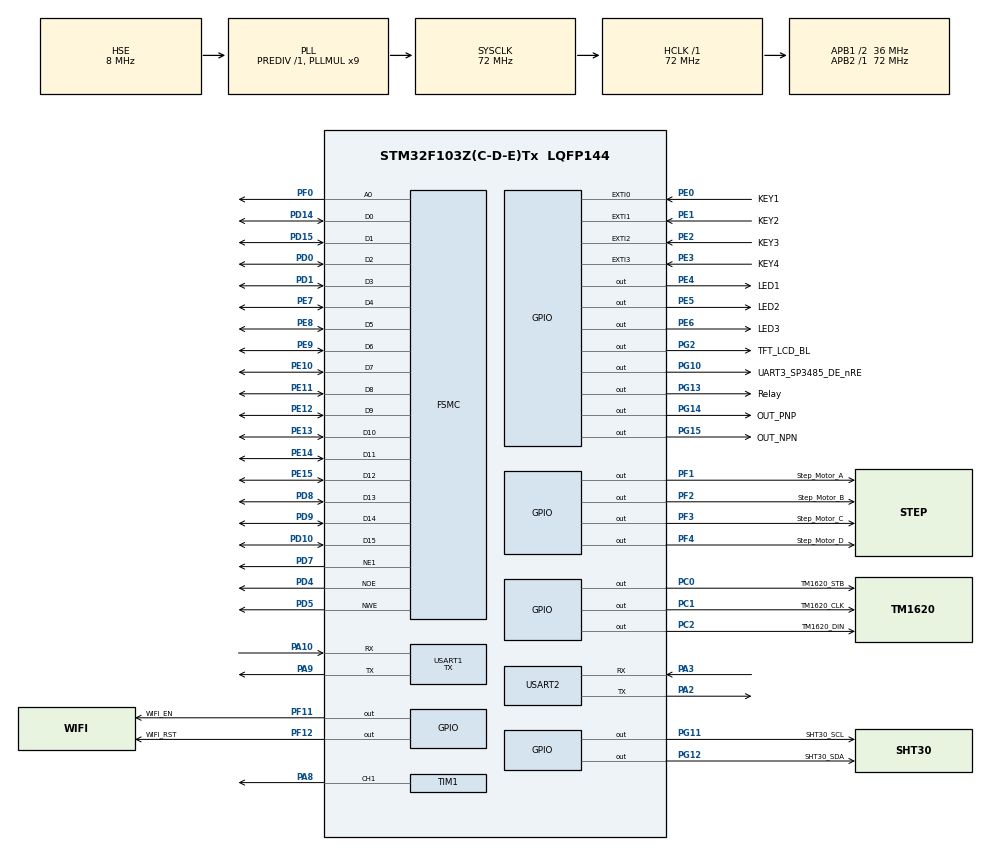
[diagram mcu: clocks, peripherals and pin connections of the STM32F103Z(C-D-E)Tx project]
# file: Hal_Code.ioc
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Dma.Request0=USART2_TX
Dma.Request1=USART2_RX
Dma.USART2_RX.1.Direction=DMA_PERIPH_TO_MEMORY
Dma.USART2_RX.1.Instance=DMA1_Channel6
Dma.USART2_RX.1.MemDataAlignment=DMA_MDATAALIGN_BYTE
Dma.USART2_RX.1.MemInc=DMA_MINC_ENABLE
Dma.USART2_RX.1.Mode=DMA_NORMAL
Dma.USART2_RX.1.PeriphDataAlignment=DMA_PDATAALIGN_BYTE
Dma.USART2_RX.1.PeriphInc=DMA_PINC_DISABLE
Dma.USART2_RX.1.Priority=DMA_PRIORITY_HIGH
Dma.USART2_TX.0.Direction=DMA_MEMORY_TO_PERIPH
Dma.USART2_TX.0.Instance=DMA1_Channel7
Dma.USART2_TX.0.MemDataAlignment=DMA_MDATAALIGN_BYTE
Dma.USART2_TX.0.MemInc=DMA_MINC_ENABLE
Dma.USART2_TX.0.Mode=DMA_NORMAL
Dma.USART2_TX.0.PeriphDataAlignment=DMA_PDATAALIGN_BYTE
Dma.USART2_TX.0.PeriphInc=DMA_PINC_DISABLE
Dma.USART2_TX.0.Priority=DMA_PRIORITY_MEDIUM
FREERTOS.MEMORY_ALLOCATION=0
FREERTOS.Tasks01=LED1,0,128,LED1_Task,Default,NULL,Dynamic,NULL,NULL;Print_CPU_RunInfo,1,256,Print_CPU_RunInfo_Task,Default,NULL,Dynamic,NULL,NULL;LED2,0,128,LED2_Task,Default,NULL,Dynamic,NULL,NULL;LED3,0,128,LED3_Task,Default,NULL,Dynamic,NULL,NULL
FREERTOS.configGENERATE_RUN_TIME_STATS=1
FREERTOS.configMAX_TASK_NAME_LEN=20
FREERTOS.configTOTAL_HEAP_SIZE=10240
FREERTOS.configUSE_NEWLIB_REENTRANT=1
FREERTOS.configUSE_STATS_FORMATTING_FUNCTIONS=1
FREERTOS.configUSE_TRACE_FACILITY=1
FSMC.AddressSetupTime1=2
FSMC.BusTurnAroundDuration1=0
FSMC.DataSetupTime1=5
Mcu.Family=STM32F1
Mcu.Name=STM32F103Z(C-D-E)Tx
Mcu.Package=LQFP144
NVIC.DMA1_Channel6_IRQn=true\:5\:0\:false\:false\:true\:true\:true\:true\:true
NVIC.DMA1_Channel7_IRQn=true\:5\:0\:false\:false\:true\:true\:true\:true\:true
NVIC.EXTI0_IRQn=true\:6\:0\:true\:false\:true\:true\:true\:true\:true
NVIC.EXTI1_IRQn=true\:6\:0\:true\:false\:true\:true\:true\:true\:true
NVIC.EXTI2_IRQn=true\:6\:0\:true\:false\:true\:true\:true\:true\:true
NVIC.EXTI3_IRQn=true\:6\:0\:true\:false\:true\:true\:true\:true\:true
NVIC.PriorityGroup=NVIC_PRIORITYGROUP_4
NVIC.TIM2_IRQn=true\:0\:0\:false\:false\:true\:false\:false\:true\:true
NVIC.TIM3_IRQn=true\:5\:0\:true\:false\:true\:true\:true\:true\:true
NVIC.TIM6_IRQn=true\:6\:0\:true\:false\:true\:true\:true\:true\:true
NVIC.TIM7_IRQn=true\:5\:0\:true\:false\:true\:true\:true\:true\:true
NVIC.TimeBase=TIM2_IRQn
NVIC.TimeBaseIP=TIM2
NVIC.USART2_IRQn=true\:5\:0\:true\:false\:true\:true\:true\:true\:true
OSC_IN.Mode=HSE-External-Oscillator
OSC_IN.Signal=RCC_OSC_IN
OSC_OUT.Mode=HSE-External-Oscillator
OSC_OUT.Signal=RCC_OSC_OUT
PA10.Mode=Asynchronous
PA10.Signal=USART1_RX
PA13.Mode=Serial_Wire
PA13.Signal=SYS_JTMS-SWDIO
PA14.Mode=Serial_Wire
PA14.Signal=SYS_JTCK-SWCLK
PA2.Mode=Asynchronous
PA2.Signal=USART2_TX
PA3.Mode=Asynchronous
PA3.Signal=USART2_RX
PA8.Signal=S_TIM1_CH1
PA9.Mode=Asynchronous
PA9.Signal=USART1_TX
PC0.GPIO_Label=TM1620_STB
PC0.Signal=GPIO_Output
PC1.GPIO_Label=TM1620_CLK
PC1.Signal=GPIO_Output
PC2.GPIO_Label=TM1620_DIN
PC2.Signal=GPIO_Output
PD0.Signal=FSMC_D2_DA2
PD1.Signal=FSMC_D3_DA3
PD10.Signal=FSMC_D15_DA15
PD14.Signal=FSMC_D0_DA0
PD15.Signal=FSMC_D1_DA1
PD4.Signal=FSMC_NOE
PD5.Signal=FSMC_NWE
PD7.Mode=NorPsramChipSelect1_1
PD7.Signal=FSMC_NE1
PD8.Signal=FSMC_D13_DA13
PD9.Signal=FSMC_D14_DA14
PE0.GPIO_Label=KEY1
PE0.GPIO_ModeDefaultEXTI=GPIO_MODE_IT_FALLING
PE0.Signal=GPXTI0
PE1.GPIO_Label=KEY2
PE1.GPIO_ModeDefaultEXTI=GPIO_MODE_IT_FALLING
PE1.Signal=GPXTI1
PE10.Signal=FSMC_D7_DA7
PE11.Signal=FSMC_D8_DA8
PE12.Signal=FSMC_D9_DA9
PE13.Signal=FSMC_D10_DA10
PE14.Signal=FSMC_D11_DA11
PE15.Signal=FSMC_D12_DA12
PE2.GPIO_Label=KEY3
PE2.GPIO_ModeDefaultEXTI=GPIO_MODE_IT_FALLING
PE2.Signal=GPXTI2
PE3.GPIO_Label=KEY4
PE3.GPIO_ModeDefaultEXTI=GPIO_MODE_IT_FALLING
PE3.Signal=GPXTI3
PE4.GPIO_Label=LED1
PE4.GPIO_Speed=GPIO_SPEED_FREQ_LOW
PE4.PinState=GPIO_PIN_RESET
PE4.Signal=GPIO_Output
PE5.GPIO_Label=LED2
PE5.PinState=GPIO_PIN_RESET
PE5.Signal=GPIO_Output
PE6.GPIO_Label=LED3
PE6.PinState=GPIO_PIN_RESET
PE6.Signal=GPIO_Output
PE7.Signal=FSMC_D4_DA4
PE8.Signal=FSMC_D5_DA5
PE9.Signal=FSMC_D6_DA6
PF0.Signal=FSMC_A0
PF1.GPIO_Label=Step_Motor_A
PF1.Signal=GPIO_Output
PF11.GPIO_Label=WIFI_EN
PF11.GPIO_ModeDefaultOutputPP=GPIO_MODE_OUTPUT_OD
PF11.PinState=GPIO_PIN_SET
PF11.Signal=GPIO_Output
PF12.GPIO_Label=WIFI_RST
PF12.GPIO_ModeDefaultOutputPP=GPIO_MODE_OUTPUT_OD
PF12.PinState=GPIO_PIN_SET
PF12.Signal=GPIO_Output
PF2.GPIO_Label=Step_Motor_B
PF2.Signal=GPIO_Output
PF3.GPIO_Label=Step_Motor_C
PF3.Signal=GPIO_Output
PF4.GPIO_Label=Step_Motor_D
PF4.Signal=GPIO_Output
PG10.GPIO_Label=UART3_SP3485_DE_nRE
PG10.Signal=GPIO_Output
PG11.GPIO_Label=SHT30_SCL
PG11.GPIO_ModeDefaultOutputPP=GPIO_MODE_OUTPUT_OD
PG11.GPIO_PuPd=GPIO_NOPULL
PG11.GPIO_Speed=GPIO_SPEED_FREQ_HIGH
PG11.PinState=GPIO_PIN_SET
PG11.Signal=GPIO_Output
PG12.GPIO_Label=SHT30_SDA
PG12.GPIO_ModeDefaultOutputPP=GPIO_MODE_OUTPUT_OD
PG12.GPIO_Speed=GPIO_SPEED_FREQ_HIGH
PG12.PinState=GPIO_PIN_SET
PG12.Signal=GPIO_Output
PG13.GPIO_Label=Relay
PG13.Signal=GPIO_Output
PG14.GPIO_Label=OUT_PNP
PG14.PinState=GPIO_PIN_SET
PG14.Signal=GPIO_Output
PG15.GPIO_Label=OUT_NPN
PG15.PinState=GPIO_PIN_RESET
PG15.Signal=GPIO_Output
PG2.GPIO_Label=TFT_LCD_BL
PG2.Signal=GPIO_Output
ProjectManager.HeapSize=0x200
ProjectManager.StackSize=0x400
ProjectManager.TargetToolchain=STM32CubeIDE
RCC.ADCPresc=RCC_ADCPCLK2_DIV6
RCC.AHBFreq_Value=72000000
RCC.APB1CLKDivider=RCC_HCLK_DIV2
RCC.APB1Freq_Value=36000000
RCC.APB1TimFreq_Value=72000000
RCC.APB2Freq_Value=72000000
RCC.APB2TimFreq_Value=72000000
RCC.EnbaleCSS=true
RCC.HCLKFreq_Value=72000000
RCC.PLLMUL=RCC_PLL_MUL9
RCC.PLLSourceVirtual=RCC_PLLSOURCE_HSE
RCC.SYSCLKFreq_VALUE=72000000
RCC.SYSCLKSource=RCC_SYSCLKSOURCE_PLLCLK
RCC.USBFreq_Value=72000000
SH.FSMC_A0.0=FSMC_A0,A0_1
SH.FSMC_D0_DA0.0=FSMC_D0,16b-d1
SH.FSMC_D10_DA10.0=FSMC_D10,16b-d1
SH.FSMC_D11_DA11.0=FSMC_D11,16b-d1
SH.FSMC_D12_DA12.0=FSMC_D12,16b-d1
SH.FSMC_D13_DA13.0=FSMC_D13,16b-d1
SH.FSMC_D14_DA14.0=FSMC_D14,16b-d1
SH.FSMC_D15_DA15.0=FSMC_D15,16b-d1
SH.FSMC_D1_DA1.0=FSMC_D1,16b-d1
SH.FSMC_D2_DA2.0=FSMC_D2,16b-d1
SH.FSMC_D3_DA3.0=FSMC_D3,16b-d1
SH.FSMC_D4_DA4.0=FSMC_D4,16b-d1
SH.FSMC_D5_DA5.0=FSMC_D5,16b-d1
SH.FSMC_D6_DA6.0=FSMC_D6,16b-d1
SH.FSMC_D7_DA7.0=FSMC_D7,16b-d1
SH.FSMC_D8_DA8.0=FSMC_D8,16b-d1
SH.FSMC_D9_DA9.0=FSMC_D9,16b-d1
SH.FSMC_NOE.0=FSMC_NOE,Lcd1
SH.FSMC_NWE.0=FSMC_NWE,Lcd1
SH.S_TIM1_CH1.0=TIM1_CH1,PWM Generation1 CH1
TIM1.AutoReloadPreload=TIM_AUTORELOAD_PRELOAD_ENABLE
TIM1.Channel-PWM\ Generation1\ CH1=TIM_CHANNEL_1
TIM1.Period=1000000/1000 - 1
TIM1.Prescaler=72000000/1000000 - 1
TIM1.Pulse-PWM\ Generation1\ CH1=500
TIM3.AutoReloadPreload=TIM_AUTORELOAD_PRELOAD_ENABLE
TIM3.Period=1000000/20000 - 1
TIM3.Prescaler=72000000/1000000 - 1
TIM6.AutoReloadPreload=TIM_AUTORELOAD_PRELOAD_ENABLE
TIM6.Period=1000000/200 - 1
TIM6.Prescaler=72000000/1000000 - 1
TIM7.AutoReloadPreload=TIM_AUTORELOAD_PRELOAD_ENABLE
TIM7.Period=49
TIM7.Prescaler=72000000/10000 - 1
USART1.Mode=MODE_TX
USART1.VirtualMode=VM_ASYNC
USART2.VirtualMode=VM_ASYNC
VP_FREERTOS_VS_CMSIS_V1.Mode=CMSIS_V1
VP_SYS_VS_tim2.Mode=TIM2
VP_TIM1_VS_ClockSourceINT.Mode=Internal
VP_TIM3_VS_ClockSourceINT.Mode=Internal
VP_TIM6_VS_ClockSourceINT.Mode=Enable_Timer
VP_TIM7_VS_ClockSourceINT.Mode=Enable_Timer
board=custom

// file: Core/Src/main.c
/* USER CODE BEGIN Header */
/**
  ******************************************************************************
  * @file           : main.c
  * @brief          : Main program body
  ******************************************************************************
  * @attention
  *
  * <h2><center>&copy; Copyright (c) 2020 STMicroelectronics.
  * All rights reserved.</center></h2>
  *
  * This software component is licensed by ST under BSD 3-Clause license,
  * the "License"; You may not use this file except in compliance with the
  * License. You may obtain a copy of the License at:
  *                        opensource.org/licenses/BSD-3-Clause
  *
  ******************************************************************************
  */
/* USER CODE END Header */

#include "main.h"
#include "cmsis_os.h"
#include "dma.h"
#include "tim.h"
#include "usart.h"
#include "gpio.h"
#include "fsmc.h"

/* USER CODE BEGIN Includes */
#include "MyApplication.h"
/* USER CODE END Includes */

/* USER CODE BEGIN PV */
volatile uint32_t CPU_RunTime = 0UL;
/* USER CODE END PV */

void SystemClock_Config(void);
void MX_FREERTOS_Init(void);

int main(void)
{

    /* MCU Configuration--------------------------------------------------------*/

    /* Reset of all peripherals, Initializes the Flash interface and the Systick. */
    HAL_Init();

    /* Configure the system clock */
    SystemClock_Config();

    /* Initialize all configured peripherals */
    MX_GPIO_Init();
    MX_DMA_Init();
    MX_TIM6_Init();
    MX_USART1_UART_Init();
    MX_TIM1_Init();
    MX_USART2_UART_Init();
    MX_FSMC_Init();
    MX_TIM3_Init();
    MX_TIM7_Init();
    /* USER CODE BEGIN 2 */
    MyInit.Peripheral_Set();
    /* USER CODE END 2 */

    /* Call init function for freertos objects (in freertos.c) */
    MX_FREERTOS_Init();
    /* Start scheduler */
    osKernelStart();

    /* We should never get here as control is now taken by the scheduler */
    /* Infinite loop */
    while (1)
    {

    }
}

void SystemClock_Config(void)
{
    RCC_OscInitTypeDef RCC_OscInitStruct = {0};
    RCC_ClkInitTypeDef RCC_ClkInitStruct = {0};

    /** Initializes the CPU, AHB and APB busses clocks
    */
    RCC_OscInitStruct.OscillatorType = RCC_OSCILLATORTYPE_HSE;
    RCC_OscInitStruct.HSEState = RCC_HSE_ON;
    RCC_OscInitStruct.HSEPredivValue = RCC_HSE_PREDIV_DIV1;
    RCC_OscInitStruct.HSIState = RCC_HSI_ON;
    RCC_OscInitStruct.PLL.PLLState = RCC_PLL_ON;
    RCC_OscInitStruct.PLL.PLLSource = RCC_PLLSOURCE_HSE;
    RCC_OscInitStruct.PLL.PLLMUL = RCC_PLL_MUL9;
    if (HAL_RCC_OscConfig(&RCC_OscInitStruct) != HAL_OK)
    {
        Error_Handler();
    }
    /** Initializes the CPU, AHB and APB busses clocks
    */
    RCC_ClkInitStruct.ClockType = RCC_CLOCKTYPE_HCLK|RCC_CLOCKTYPE_SYSCLK
                                  |RCC_CLOCKTYPE_PCLK1|RCC_CLOCKTYPE_PCLK2;
    RCC_ClkInitStruct.SYSCLKSource = RCC_SYSCLKSOURCE_PLLCLK;
    RCC_ClkInitStruct.AHBCLKDivider = RCC_SYSCLK_DIV1;
    RCC_ClkInitStruct.APB1CLKDivider = RCC_HCLK_DIV2;
    RCC_ClkInitStruct.APB2CLKDivider = RCC_HCLK_DIV1;

    if (HAL_RCC_ClockConfig(&RCC_ClkInitStruct, FLASH_LATENCY_2) != HAL_OK)
    {
        Error_Handler();
    }
    /** Enables the Clock Security System
    */
    HAL_RCC_EnableCSS();
}

void HAL_TIM_PeriodElapsedCallback(TIM_HandleTypeDef *htim)
{
    if (htim->Instance == TIM2) {
        HAL_IncTick();
    }
    /* USER CODE BEGIN Callback 1 */
    if (htim->Instance == TIM3)
    {
        CPU_RunTime++;
    }
    /* USER CODE END Callback 1 */
}

void Error_Handler(void)
{
    /* USER CODE BEGIN Error_Handler_Debug */
    /* User can add his own implementation to report the HAL error return state */
    System.Error_Handler();
    /* USER CODE END Error_Handler_Debug */
}

#ifdef  USE_FULL_ASSERT
/**
  * @brief  Reports the name of the source file and the source line number
  *         where the assert_param error has occurred.
  * @param  file: pointer to the source file name
  * @param  line: assert_param error line source number
  * @retval None
  */
void assert_failed(uint8_t *file, uint32_t line)
{
    /* USER CODE BEGIN 6 */
    /* User can add his own implementation to report the file name and line number,
       tex: printf("Wrong parameters value: file %s on line %d\r\n", file, line) */
    System.Assert_Failed();
    /* USER CODE END 6 */
}
#endif /* USE_FULL_ASSERT */

/************************ (C) COPYRIGHT STMicroelectronics *****END OF FILE****/

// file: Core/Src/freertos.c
/* USER CODE BEGIN Header */
/**
  ******************************************************************************
  * File Name          : freertos.c
  * Description        : Code for freertos applications
  ******************************************************************************
  * @attention
  *
  * <h2><center>&copy; Copyright (c) 2022 STMicroelectronics.
  * All rights reserved.</center></h2>
  *
  * This software component is licensed by ST under Ultimate Liberty license
  * SLA0044, the "License"; You may not use this file except in compliance with
  * the License. You may obtain a copy of the License at:
  *                             www.st.com/SLA0044
  *
  ******************************************************************************
  */
/* USER CODE END Header */

#include "FreeRTOS.h"
#include "task.h"
#include "main.h"
#include "cmsis_os.h"

/* USER CODE BEGIN Includes */
#include "MyApplication.h"
/* USER CODE END Includes */

/* USER CODE BEGIN Variables */
extern volatile uint32_t CPU_RunTime;

//定义队列变量
static QueueHandle_t xQueue1 = NULL;
static QueueHandle_t xQueue2 = NULL;

/* USER CODE END Variables */
osThreadId LED1Handle;
osThreadId KEYHandle;
osThreadId Queue1_ReceiveHandle;
osThreadId Queue2_ReceiveHandle;

void LED1_Task(void const * argument);
void KEY_Task(void const * argument);
void Queue1_Receive_Task(void const * argument);
void Queue2_Receive_Task(void const * argument);

void MX_FREERTOS_Init(void); /* (MISRA C 2004 rule 8.1) */

/* Hook prototypes */
void configureTimerForRunTimeStats(void);
unsigned long getRunTimeCounterValue(void);

/* USER CODE BEGIN 1 */
/* Functions needed when configGENERATE_RUN_TIME_STATS is on */
__weak void configureTimerForRunTimeStats(void)
{
    CPU_RunTime = 0;
}

__weak unsigned long getRunTimeCounterValue(void)
{
    return CPU_RunTime;
}
/* USER CODE END 1 */

void MX_FREERTOS_Init(void) {

    /* USER CODE BEGIN RTOS_QUEUES */
    /* add queues, ... */
    xQueue1 = xQueueCreate(1, sizeof(uint32_t));
    if(xQueue1 == NULL)
        printf("创建消息队列1失败\r\n");
    else
        printf("创建消息队列1成功\r\n");

    xQueue2 = xQueueCreate(2, 16);
    if(xQueue2 == NULL)
        printf("创建消息队列2失败\r\n");
    else
        printf("创建消息队列2成功\r\n");
    /* USER CODE END RTOS_QUEUES */

    /* Create the thread(s) */
    /* definition and creation of LED1 */
    osThreadDef(LED1, LED1_Task, osPriorityBelowNormal, 0, 128);
    LED1Handle = osThreadCreate(osThread(LED1), NULL);

    /* definition and creation of KEY */
    osThreadDef(KEY, KEY_Task, osPriorityAboveNormal, 0, 256);
    KEYHandle = osThreadCreate(osThread(KEY), NULL);

    /* definition and creation of Queue1_Receive */
    osThreadDef(Queue1_Receive, Queue1_Receive_Task, osPriorityNormal, 0, 128);
    Queue1_ReceiveHandle = osThreadCreate(osThread(Queue1_Receive), NULL);

    /* definition and creation of Queue2_Receive */
    osThreadDef(Queue2_Receive, Queue2_Receive_Task, osPriorityNormal, 0, 128);
    Queue2_ReceiveHandle = osThreadCreate(osThread(Queue2_Receive), NULL);

}

void LED1_Task(void const * argument)
{
    /* USER CODE BEGIN LED1_Task */
    /* Infinite loop */
    for(;;)
    {
        osDelay(1000);
        LED.LED_Flip(LED1);
    }
    /* USER CODE END LED1_Task */
}

void KEY_Task(void const * argument)
{
    /* USER CODE BEGIN KEY_Task */
    uint8_t CPU_RunInfo[500];  //保存任务运行时间信息
    uint32_t ucSend_Data = 0;  //向消息队列1发送的数据
    const TickType_t ulSendBlockTime = pdMS_TO_TICKS(10);
    /* Infinite loop */
    for(;;)
    {
        //按键检测
        KEY.GetKeyCode();

        //KEY1处理
        if(KEY.KeyCode == KEY1)
        {
            vTaskList((char*)&CPU_RunInfo);
            printf("---------------------------------\r\n");
            printf("任务名               任务状态  优先级   剩余栈 任务序号\r\n");
            printf("%s",CPU_RunInfo);
            printf("---------------------------------\r\n");

            vTaskGetRunTimeStats((char*)&CPU_RunInfo);
            printf("---------------------------------\r\n");
            printf("任务名                 运行计数        利用率\r\n");
            printf("%s",CPU_RunInfo);
            printf("---------------------------------\r\n");
        }

        //KEY2处理
        if(KEY.KeyCode == KEY2)
        {
            if(xQueueSend(xQueue1, &ucSend_Data, ulSendBlockTime) == pdTRUE)
                printf("成功向消息队列1发送数据：%u\r\n", ucSend_Data);
            else
                printf("向消息队列1发送数据出现超时!!!\r\n");

            //更新发送的数据
            ucSend_Data += 1000;
        }

        //KEY3处理
        if(KEY.KeyCode == KEY3)
        {
            if(xQueueSend(xQueue2, "MCU168168168\r\n", 0) == pdTRUE)
                printf("成功向消息队列2发送字符串：%s\r\n", "MCU168168168");
            else
                printf("向消息队列2发送字符串出现超时!!!\r\n");
        }

        //KEY4处理
        if(KEY.KeyCode == KEY4)
        {
            if(xQueueSend(xQueue2, "YJJY168168168", 0) == pdTRUE)
                printf("成功向消息队列2发送字符串：%s\r\n", "YJJY168168168\r\n");
            else
                printf("向消息队列2发送字符串出现超时!!!\r\n");
        }

        //阻塞延时20ms
        osDelay(20);
    }
    /* USER CODE END KEY_Task */
}

void Queue1_Receive_Task(void const * argument)
{
    /* USER CODE BEGIN Queue1_Receive_Task */
    uint32_t ucRec_Data = 0;
    const TickType_t ulReceiveBlockTime = pdMS_TO_TICKS(1000);

    /* Infinite loop */
    for(;;)
    {
        if(xQueueReceive(xQueue1, &ucRec_Data, ulReceiveBlockTime) == pdTRUE)
        {
            printf("成功接收消息队列1的数据：%u\r\n", ucRec_Data);
        }
        else
        {
            printf("接收消息队列1的数据出现超时!!!\r\n");
        }
    }
    /* USER CODE END Queue1_Receive_Task */
}

void Queue2_Receive_Task(void const * argument)
{
    /* USER CODE BEGIN Queue2_Receive_Task */
    uint8_t ucRec_Data[16] = {0};
    /* Infinite loop */
    for(;;)
    {
        if(xQueueReceive(xQueue2, ucRec_Data, portMAX_DELAY) == pdTRUE)
        {
            printf("成功接收消息队列2的字符串：%s\r\n", ucRec_Data);
        }
    }
    /* USER CODE END Queue2_Receive_Task */
}

/************************ (C) COPYRIGHT STMicroelectronics *****END OF FILE****/
